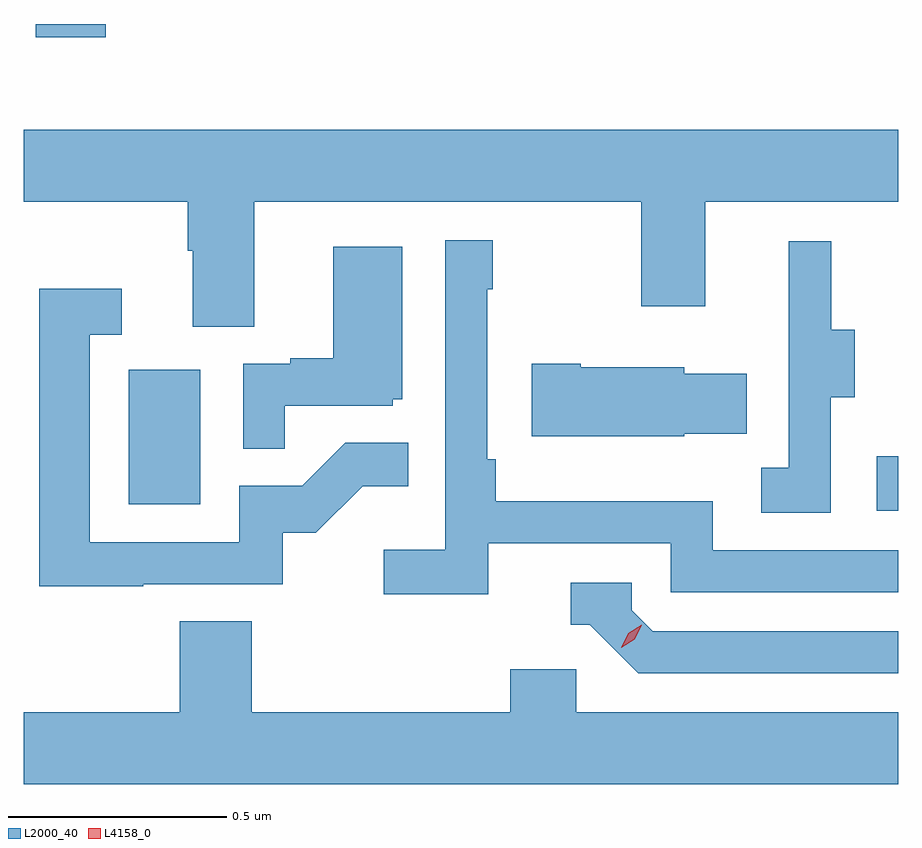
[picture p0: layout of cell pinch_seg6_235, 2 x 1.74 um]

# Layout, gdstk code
import gdstk
lib = gdstk.Library(unit=1e-6, precision=1e-09)
def R(c, l, rs):  # rectangles x0, y0, x1, y1
    for r in rs: c.add(gdstk.rectangle(r[:2], r[2:], *l))
def P(c, l, *ps):  # polygons
    for p in ps: c.add(gdstk.Polygon(p, *l))
L2000_40 = (2000, 40)
L4158_0 = (4158, 0)

pinch_seg6_235 = lib.new_cell('pinch_seg6_235')
R(pinch_seg6_235, L2000_40, [(1111.863,930.645,1111.912,930.77), (1110.152,930.66,1110.316,930.967), (1109.939,931.728,1110.1,931.758)])
P(pinch_seg6_235, L2000_40, [(1110.439,931.352),(1111.324,931.352),(1111.324,931.113),(1111.471,931.113),(1111.471,931.352),(1111.912,931.352),(1111.912,931.516),(1109.912,931.516),(1109.912,931.352),(1110.287,931.352),(1110.287,931.24),(1110.299,931.24),(1110.299,931.066),(1110.439,931.066)],
  [(1110.974,930.57),(1111.392,930.57),(1111.392,930.459),(1111.912,930.459),(1111.912,930.555),(1111.488,930.555),(1111.488,930.667),(1110.992,930.667),(1110.992,930.763),(1110.972,930.763),(1110.972,931.151),(1110.985,931.151),(1110.985,931.264),(1110.876,931.264),(1110.876,930.556),(1110.735,930.556),(1110.735,930.454),(1110.974,930.454)],
  [(1111.758,930.904),(1111.813,930.904),(1111.813,931.059),(1111.759,931.059),(1111.759,931.261),(1111.661,931.261),(1111.661,931.047),(1111.662,931.047),(1111.662,930.743),(1111.599,930.743),(1111.599,930.64),(1111.758,930.64)],
  [(1110.509,930.885),(1110.756,930.885),(1110.756,930.9),(1110.778,930.9),(1110.778,931.249),(1110.62,931.249),(1110.62,930.994),(1110.521,930.994),(1110.521,930.981),(1110.414,930.981),(1110.414,930.787),(1110.509,930.787)],
  [(1110.185,930.477),(1110.504,930.477),(1110.504,930.594),(1110.58,930.594),(1110.687,930.701),(1110.791,930.701),(1110.791,930.8),(1110.647,930.8),(1110.549,930.702),(1110.405,930.702),(1110.405,930.573),(1110.063,930.573),(1110.063,931.047),(1110.136,931.047),(1110.136,931.153),(1109.947,931.153),(1109.947,930.472),(1110.185,930.472)],
  [(1111.422,930.821),(1111.565,930.821),(1111.565,930.958),(1111.422,930.958),(1111.422,930.973),(1111.186,930.973),(1111.186,930.981),(1111.074,930.981),(1111.074,930.815),(1111.422,930.815)],
  [(1111.912,930.369),(1111.35,930.369),(1111.302,930.417),(1111.302,930.48),(1111.163,930.48),(1111.163,930.384),(1111.206,930.384),(1111.317,930.273),(1111.912,930.273)],
  [(1111.912,930.184),(1111.176,930.184),(1111.176,930.282),(1111.025,930.282),(1111.025,930.184),(1110.434,930.184),(1110.434,930.392),(1110.269,930.392),(1110.269,930.184),(1109.912,930.184),(1109.912,930.02),(1111.912,930.02)])
P(pinch_seg6_235, L4158_0, [(1111.278,930.332),(1111.278,930.332),(1111.294,930.365),(1111.325,930.384),(1111.325,930.384),(1111.325,930.383),(1111.309,930.351),(1111.278,930.332)])

lib.write_gds('pinch_seg6_235.gds')
